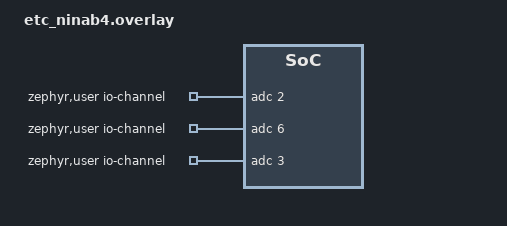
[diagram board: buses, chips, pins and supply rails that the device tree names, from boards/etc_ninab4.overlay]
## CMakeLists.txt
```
cmake_minimum_required(VERSION 3.13.1)

set(CONFIG_APPLICATION_DEFINED_SYSCALL true)

find_package(Zephyr REQUIRED HINTS $ENV{ZEPHYR_BASE})

project(etc_core)

target_sources(app PRIVATE src/main.c)
zephyr_cc_option(-Wfatal-errors)

add_subdirectory(src/app)
include_directories(
  src/app
)

zephyr_include_directories_ifdef(CONFIG_AWS_IOT_PROVISION_CERTIFICATES certs)
```

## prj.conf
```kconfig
# General config
CONFIG_APP_VERSION="v1.0.0"
CONFIG_NEWLIB_LIBC=y
CONFIG_NEWLIB_LIBC_FLOAT_PRINTF=y
CONFIG_ASSERT=y
CONFIG_REBOOT=y
CONFIG_RESET_ON_FATAL_ERROR=n
CONFIG_FPU=y
CONFIG_FW_INFO=y

# Heap and stacks
CONFIG_HW_STACK_PROTECTION=y

# Flash Settings
CONFIG_FLASH=y
CONFIG_FLASH_PAGE_LAYOUT=y
CONFIG_FLASH_MAP=y
CONFIG_SOC_FLASH_NRF_UICR=y
CONFIG_MPU_ALLOW_FLASH_WRITE=y
CONFIG_STREAM_FLASH_LOG_LEVEL_DBG=y
```

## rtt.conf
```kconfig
# segger RTT console
CONFIG_USE_SEGGER_RTT=y
CONFIG_RTT_CONSOLE=y
```

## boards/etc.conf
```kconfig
# Network
CONFIG_NETWORKING=y
CONFIG_NET_NATIVE=n
CONFIG_NET_IPV4=y
CONFIG_NET_IPV6=n
CONFIG_MQTT_LIB_TLS=y
CONFIG_NRF_MODEM_LIB=n
CONFIG_NET_LOG=y
CONFIG_NET_SOCKETS_SOCKOPT_TLS=y
CONFIG_NET_SOCKETS_OFFLOAD_TLS=y

# Modem
CONFIG_MODEM=y
CONFIG_MODEM_QUECTEL_BG95_M3=y
CONFIG_MODEM_LOG_LEVEL_DBG=n
CONFIG_MODEM_CONTEXT_VERBOSE_DEBUG=n

CONFIG_LOG=y
CONFIG_ETC_APP_LOG_LEVEL_DBG=y
CONFIG_AWS_FOTA_LOG_LEVEL_DBG=y
CONFIG_AWS_JOBS_LOG_LEVEL_DBG=y
CONFIG_AWS_IOT_LOG_LEVEL_DBG=y
CONFIG_DOWNLOAD_CLIENT_LOG_LEVEL_DBG=y
CONFIG_FOTA_DOWNLOAD_LOG_LEVEL_DBG=y
CONFIG_LOG_BUFFER_SIZE=4096
CONFIG_MQTT_LOG_LEVEL_DBG=n
CONFIG_NET_LOG=y

# AWS IoT library
CONFIG_AWS_IOT=y
CONFIG_AWS_IOT_CLIENT_ID_STATIC="EXACT-864200056547269"
CONFIG_AWS_IOT_BROKER_HOST_NAME="a3mld5b8glqv1c-ats.iot.us-west-2.amazonaws.com"
CONFIG_AWS_IOT_PORT=8883
CONFIG_AWS_IOT_SEC_TAG=201
CONFIG_AWS_IOT_APP_SUBSCRIPTION_LIST_COUNT=1
CONFIG_AWS_IOT_TOPIC_UPDATE_DELTA_SUBSCRIBE=n
CONFIG_AWS_IOT_LAST_WILL=n
CONFIG_AWS_IOT_TOPIC_GET_ACCEPTED_SUBSCRIBE=n
CONFIG_AWS_IOT_TOPIC_GET_REJECTED_SUBSCRIBE=n
CONFIG_AWS_IOT_MQTT_RX_TX_BUFFER_LEN=2048
CONFIG_AWS_IOT_MQTT_PAYLOAD_BUFFER_LEN=2048
CONFIG_AWS_IOT_CONNECTION_POLL_THREAD=y
CONFIG_AWS_IOT_PROVISION_CERTIFICATES=y

# MQTT - Maximum MQTT keepalive timeout specified by AWS IoT Core
CONFIG_MQTT_KEEPALIVE=60
CONFIG_MQTT_CLEAN_SESSION=y

# Heap and stacks
CONFIG_HEAP_MEM_POOL_SIZE=4096
CONFIG_MAIN_STACK_SIZE=4096
CONFIG_SYSTEM_WORKQUEUE_STACK_SIZE=2048

# AWS FOTA
CONFIG_AWS_FOTA=y

# MCUBOOT
CONFIG_BOOTLOADER_MCUBOOT=y
CONFIG_IMG_MANAGER=y
CONFIG_MCUBOOT_IMG_MANAGER=y
CONFIG_IMG_ERASE_PROGRESSIVELY=y

# Settings - Used to store real-time device configuration to flash.
CONFIG_SETTINGS=y
CONFIG_SETTINGS_FCB=y
CONFIG_FCB=y

# Non-volatile Storage
CONFIG_NVS=y

# FOTA
CONFIG_FOTA_DOWNLOAD=y
CONFIG_DFU_TARGET=y
CONFIG_DFU_TARGET_MCUBOOT=y
CONFIG_DFU_TARGET_STREAM_SAVE_PROGRESS=y

# Download client
CONFIG_DOWNLOAD_CLIENT=y
CONFIG_DOWNLOAD_CLIENT_STACK_SIZE=2048
CONFIG_DOWNLOAD_CLIENT_HTTP_FRAG_SIZE_1024=y
CONFIG_DOWNLOAD_CLIENT_BUF_SIZE=1024
CONFIG_DOWNLOAD_CLIENT_TCP_SOCK_TIMEO_MS=60000

# Enable the LittleFS file system.
CONFIG_FILE_SYSTEM=y
CONFIG_FILE_SYSTEM_LITTLEFS=y

# Enable statistics and statistic names.
CONFIG_STATS=y
CONFIG_STATS_NAMES=y

# Disable boot banner. printk outputs get dropped w/ usbcdc
CONFIG_BOOT_BANNER=n

# Enable mcumgr.
CONFIG_MCUMGR=y

# Enable most core commands.
CONFIG_MCUMGR_CMD_IMG_MGMT=y
CONFIG_MCUMGR_CMD_OS_MGMT=y
CONFIG_MCUMGR_CMD_STAT_MGMT=y

# enable storage erase for mcumgr (needed for OTA for BLE)
CONFIG_MCUMGR_GRP_ZEPHYR_BASIC=y
CONFIG_MCUMGR_GRP_BASIC_CMD_STORAGE_ERASE=y

# Enable the Bluetooth (unauthenticated) and shell mcumgr transports.
CONFIG_MCUMGR_SMP_BT=y
CONFIG_MCUMGR_SMP_BT_AUTHEN=n
# Enable file system commands
CONFIG_MCUMGR_CMD_FS_MGMT=y

# CJSON
CONFIG_CJSON_LIB=y

CONFIG_ADC=y
CONFIG_ADC_MODULES_SAMPLE_RATE_MSEC=30000
CONFIG_ADC_MODULES=y
CONFIG_BQ24195=y
CONFIG_PCF85263=y
CONFIG_DS18B20_TIMER=y

# GUI over LED
CONFIG_UI_MODULE=y
CONFIG_UI_LED_USE_PWM=y
CONFIG_UI_LOG_LEVEL_DBG=y

# Bluetooth
CONFIG_BT=y
CONFIG_BT_CTLR=y

# # Partition Manager
CONFIG_PM_PARTITION_SIZE_LITTLEFS=0x180000
CONFIG_PM_PARTITION_REGION_LITTLEFS_EXTERNAL=y
```

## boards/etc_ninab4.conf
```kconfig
# General config
CONFIG_APP_VERSION="v1.0.0"
CONFIG_NEWLIB_LIBC=y
CONFIG_NEWLIB_LIBC_FLOAT_PRINTF=y
CONFIG_ASSERT=y
CONFIG_REBOOT=y
CONFIG_RESET_ON_FATAL_ERROR=n
CONFIG_FPU=y
CONFIG_FW_INFO=y

# Network
CONFIG_NETWORKING=y
CONFIG_NET_NATIVE=n
CONFIG_NET_IPV4=y
CONFIG_NET_IPV6=n
CONFIG_NET_SOCKETS_SOCKOPT_TLS=y
CONFIG_NRF_MODEM_LIB=n

CONFIG_MODEM=y
CONFIG_MODEM_SIM_NUMBERS=y
CONFIG_MODEM_QUECTEL_BG95_M3=y
CONFIG_MODEM_LOG_LEVEL_DBG=n
CONFIG_DNS_RESOLVER=y
CONFIG_MODEM_CONTEXT_VERBOSE_DEBUG=n
CONFIG_MODEM_QUECTEL_BG95_M3_APN="v-internet"

CONFIG_LOG=y
CONFIG_ETC_APP_LOG_LEVEL_DBG=y
CONFIG_AWS_FOTA_LOG_LEVEL_DBG=y
CONFIG_AWS_JOBS_LOG_LEVEL_DBG=y
CONFIG_AWS_IOT_LOG_LEVEL_DBG=y
CONFIG_DOWNLOAD_CLIENT_LOG_LEVEL_DBG=y
CONFIG_FOTA_DOWNLOAD_LOG_LEVEL_DBG=y
CONFIG_LOG_BUFFER_SIZE=4096
CONFIG_MQTT_LOG_LEVEL_DBG=n
CONFIG_NET_LOG=y

CONFIG_NEWLIB_LIBC=y
CONFIG_NEWLIB_LIBC_FLOAT_PRINTF=y
CONFIG_CJSON_LIB=y

# Heap and stacks
CONFIG_HW_STACK_PROTECTION=y

# Settings, needed for Azure Device Provisioning Service
CONFIG_FLASH=y
CONFIG_FLASH_MAP=y
CONFIG_FCB=y
CONFIG_MPU_ALLOW_FLASH_WRITE=y

# AWS IoT library
CONFIG_AWS_IOT=y
CONFIG_AWS_IOT_CLIENT_ID_STATIC="ETC_Things"
CONFIG_AWS_IOT_BROKER_HOST_NAME="a2qrvfw4ehr8y1-ats.iot.ap-southeast-1.amazonaws.com"
CONFIG_AWS_IOT_PORT=8883
CONFIG_AWS_IOT_SEC_TAG=201
CONFIG_AWS_IOT_APP_SUBSCRIPTION_LIST_COUNT=1
CONFIG_AWS_IOT_TOPIC_UPDATE_DELTA_SUBSCRIBE=n
CONFIG_AWS_IOT_LAST_WILL=n
CONFIG_AWS_IOT_TOPIC_GET_ACCEPTED_SUBSCRIBE=n
CONFIG_AWS_IOT_TOPIC_GET_REJECTED_SUBSCRIBE=n
CONFIG_AWS_IOT_MQTT_RX_TX_BUFFER_LEN=2048
CONFIG_AWS_IOT_MQTT_PAYLOAD_BUFFER_LEN=2048
CONFIG_AWS_IOT_CONNECTION_POLL_THREAD=y

# MQTT - Maximum MQTT keepalive timeout specified by AWS IoT Core
CONFIG_MQTT_KEEPALIVE=60
CONFIG_MQTT_CLEAN_SESSION=y

# Heap and stacks
CONFIG_HEAP_MEM_POOL_SIZE=4096
CONFIG_MAIN_STACK_SIZE=4096
CONFIG_SYSTEM_WORKQUEUE_STACK_SIZE=2048

# AWS FOTA
CONFIG_AWS_FOTA=y

# MCUBOOT
CONFIG_BOOTLOADER_MCUBOOT=y
CONFIG_IMG_MANAGER=y
CONFIG_MCUBOOT_IMG_MANAGER=y
CONFIG_IMG_ERASE_PROGRESSIVELY=y

# Settings - Used to store real-time device configuration to flash.
CONFIG_SETTINGS=y
CONFIG_SETTINGS_FCB=y
CONFIG_FCB=y

# Non-volatile Storage
CONFIG_NVS=y

# FOTA
CONFIG_FOTA_DOWNLOAD=y
CONFIG_DFU_TARGET=y
CONFIG_DFU_TARGET_MCUBOOT=y
CONFIG_DFU_TARGET_STREAM_SAVE_PROGRESS=y

# Download client
CONFIG_DOWNLOAD_CLIENT=y
CONFIG_DOWNLOAD_CLIENT_STACK_SIZE=2048
CONFIG_DOWNLOAD_CLIENT_HTTP_FRAG_SIZE_1024=y
CONFIG_DOWNLOAD_CLIENT_BUF_SIZE=1024
CONFIG_DOWNLOAD_CLIENT_LOG_LEVEL_DBG=y
CONFIG_DOWNLOAD_CLIENT_TCP_SOCK_TIMEO_MS=60000

# Flash Settings
CONFIG_FLASH=y
CONFIG_FLASH_PAGE_LAYOUT=y
CONFIG_SOC_FLASH_NRF_UICR=y
CONFIG_FLASH_MAP=y
CONFIG_MPU_ALLOW_FLASH_WRITE=y
CONFIG_STREAM_FLASH_LOG_LEVEL_DBG=y
CONFIG_FLASH_JESD216_API=y
CONFIG_SPI=y
CONFIG_SPI_NOR=y


# CJSON
CONFIG_CJSON_LIB=y

CONFIG_ADC=y
CONFIG_ADC_MODULES_SAMPLE_RATE_MSEC=30000
CONFIG_ADC_MODULES=y
CONFIG_BQ24195=y
CONFIG_PCF85263=y
CONFIG_DS2484=y
CONFIG_DS18S20=y
# GUI over LED
CONFIG_UI_MODULE=y
CONFIG_UI_LED_USE_PWM=y
CONFIG_UI_LOG_LEVEL_DBG=y
```

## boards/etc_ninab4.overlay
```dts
/ {
	chosen {
		nordic,pm-ext-flash = &mx25l6433;
	};
};

/* A0 = P0.04 = AIN2 */
/* A1 = P0.30 = AIN6 */
/* A2 = P0.5  = AIN3 */
/* A3 = P0.2  = AIN0 */
/* A4 = P0.28 = AIN4 */
/ {
	zephyr,user {
		/* adjust channel number according to pinmux in board.dts */
		io-channels = <&adc 2>, <&adc 6>, <&adc 3>;
	};
};
	
/delete-node/ &boot_partition;
/delete-node/ &slot0_partition;
/delete-node/ &slot1_partition;
/delete-node/ &scratch_partition;
/delete-node/ &storage_partition;

&flash0 {
	partitions {
		boot_partition: partition@0 {
			label = "mcuboot";
			reg = <0x00000000 0x00010000>;
		};
		slot0_partition: partition@10000 {
			label = "image-0";
			reg = <0x00010000 0x00070000>;
		};
	};
};

&mx25l6433 {
	partitions {
		compatible = "fixed-partitions";
		#address-cells = <1>;
		#size-cells = <1>;

		slot1_partition: partition@0 {
			label = "image-1";
			reg = <0x00000000 0x00060000>;
		};
		etc_partition: partition@60000 {
			label = "etc-storage";
			reg = <0x00060000 0x00190000>;
		};
		storage_partition: partition@1F0000 {
			label = "storage";
			reg = <0x001F0000 0x00010000>;
		};
	};
};
```

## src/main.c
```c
#include <zephyr/kernel.h>
#include <stdio.h>
#include <stdlib.h>
#include "pcf85263a.h"
#include "bq24195.h"
#include "adc.h"
#include "ui.h"
#include "etc_setting.h"
#include "etc_app.h"

#include <zephyr/logging/log.h>
LOG_MODULE_REGISTER(main, CONFIG_ETC_APP_LOG_LEVEL);

static void app_driver_init(void) {
	ui_init();
	ui_led_set_pattern(UI_LED_ERROR_UNKNOWN);
	adc_init();
	pcf85263a_init("I2C_0");
	bq24195_init();
}

void main(void)
{
	etc_aws_init();

	for (;;) {
		k_cpu_idle();
#if CONFIG_LOG
		k_sleep(K_SECONDS(1));
#endif	
	}
}
```
